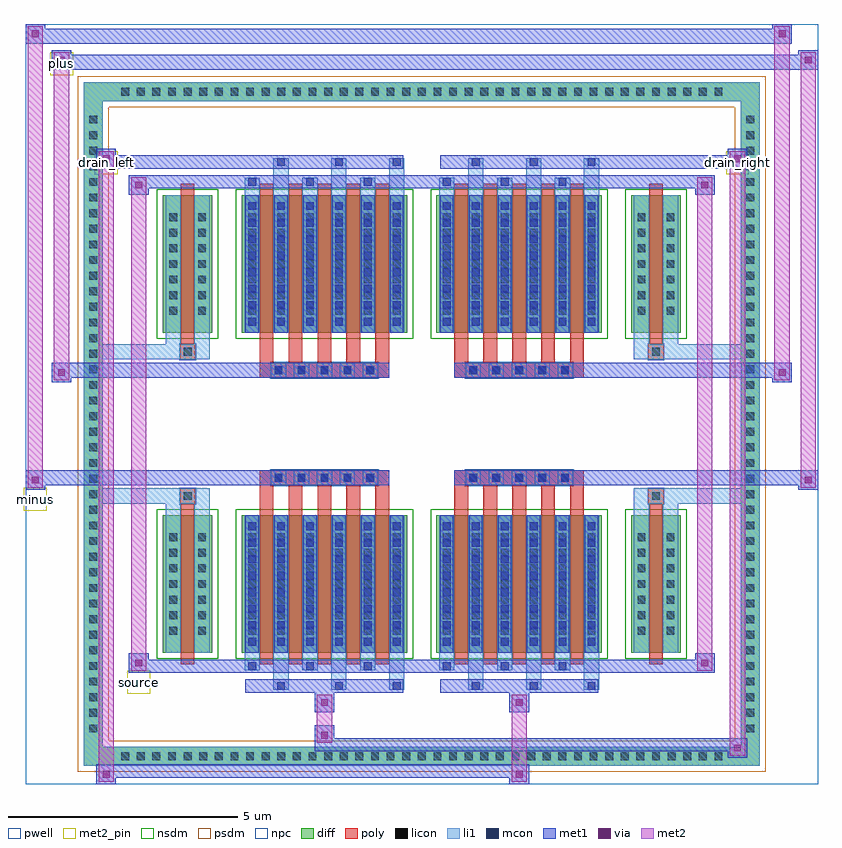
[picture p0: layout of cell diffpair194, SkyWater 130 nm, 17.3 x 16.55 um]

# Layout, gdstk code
import gdstk
lib = gdstk.Library(unit=1e-6, precision=5e-09)
def R(c, l, rs):  # rectangles x0, y0, x1, y1
    for r in rs: c.add(gdstk.rectangle(r[:2], r[2:], *l))
def A(c, l, x, y, w, h, nx, ny, dx, dy):  # array of equal rectangles
    R(c, l, [(x+i*dx, y+j*dy, x+i*dx+w, y+j*dy+h) for i in range(nx) for j in range(ny)])
def P(c, l, *ps):  # polygons
    for p in ps: c.add(gdstk.Polygon(p, *l))
pwell = (64, 44)
diff = (65, 20)
poly = (66, 20)
licon = (66, 44)
li1 = (67, 20)
mcon = (67, 44)
met1 = (68, 20)
via = (68, 44)
met2_pin = (69, 16)
met2 = (69, 20)
nsdm = (93, 44)
psdm = (94, 20)
npc = (95, 20)

diffpair194 = lib.new_cell('diffpair194')
R(diffpair194, pwell, [(-8.63,-7.84,8.63,8.71), (-5.95,-6.03,-0.01,-0.805), (0.01,-6.03,5.95,-0.805), (-5.95,0.805,-0.01,6.03), (0.01,0.805,5.95,6.03)])
A(diffpair194, diff, -6.665, -7.44, 0.41, 0.41, 39, 2, 0.34, 14.47)
A(diffpair194, diff, -7.36, -6.835, 0.41, 0.41, 1, 40, 0, 0.34)
A(diffpair194, diff, 6.95, -6.835, 0.41, 0.41, 1, 40, 0, 0.34)
R(diffpair194, diff, [(-6.665,-7.44,6.665,-7.03), (-7.36,-6.835,-6.95,6.835), (6.95,-6.835,7.36,6.835), (-5.64,-4.985,-4.56,-1.985), (-3.92,-4.985,-0.32,-1.985), (0.32,-4.985,3.92,-1.985), (4.56,-4.985,5.64,-1.985), (-5.64,1.985,-4.56,4.985), (-3.92,1.985,-0.32,4.985), (0.32,1.985,3.92,4.985), (4.56,1.985,5.64,4.985), (-6.665,7.03,6.665,7.44)])
P(diffpair194, diff, [(7.36,7.44),(-7.36,7.44),(-7.36,-7.03),(-6.95,-7.03),(-6.95,7.03),(6.95,7.03),(6.95,-7.03),(-6.95,-7.03),(-7.36,-7.03),(-7.36,-7.44),(7.36,-7.44)])
A(diffpair194, poly, -3.53, -5.235, 0.3, 3.5, 5, 2, 0.63, 6.97)
A(diffpair194, poly, 0.71, -5.235, 0.3, 3.5, 5, 2, 0.63, 6.97)
A(diffpair194, poly, -3.53, -1.735, 0.3, 0.4, 5, 2, 0.63, 3.07)
A(diffpair194, poly, 0.71, -1.735, 0.3, 0.4, 5, 2, 0.63, 3.07)
A(diffpair194, poly, -3.285, -1.335, 0.33, 0.33, 5, 2, 0.5, 2.34)
A(diffpair194, poly, 0.955, -1.335, 0.33, 0.33, 5, 2, 0.5, 2.34)
R(diffpair194, poly, [(-5.25,-5.235,-4.95,-1.735), (4.95,-5.235,5.25,-1.735), (-5.265,-1.735,-4.935,-1.405), (-5.265,-1.735,-4.935,-1.405), (4.935,-1.735,5.265,-1.405), (4.935,-1.735,5.265,-1.405), (-3.53,-1.335,-0.71,-1.005), (0.71,-1.335,3.53,-1.005), (-3.53,1.005,-0.71,1.335), (0.71,1.005,3.53,1.335), (-5.265,1.405,-4.935,1.735), (-5.265,1.405,-4.935,1.735), (4.935,1.405,5.265,1.735), (4.935,1.405,5.265,1.735), (-5.25,1.735,-4.95,5.235), (4.95,1.735,5.25,5.235)])
A(diffpair194, licon, -6.545, -7.32, 0.17, 0.17, 39, 2, 0.34, 14.47)
A(diffpair194, licon, -7.24, -6.715, 0.17, 0.17, 1, 40, 0, 0.34)
A(diffpair194, licon, 7.07, -6.715, 0.17, 0.17, 1, 40, 0, 0.34)
A(diffpair194, licon, -5.5, -4.59, 0.17, 0.17, 1, 7, 0, 0.34)
A(diffpair194, licon, -4.87, -4.59, 0.17, 0.17, 1, 7, 0, 0.34)
A(diffpair194, licon, -3.78, -4.59, 0.17, 0.17, 6, 7, 0.63, 0.34)
A(diffpair194, licon, 0.46, -4.59, 0.17, 0.17, 6, 7, 0.63, 0.34)
A(diffpair194, licon, 4.7, -4.59, 0.17, 0.17, 1, 7, 0, 0.34)
A(diffpair194, licon, 5.33, -4.59, 0.17, 0.17, 1, 7, 0, 0.34)
A(diffpair194, licon, -3.205, -1.255, 0.17, 0.17, 5, 2, 0.5, 2.34)
A(diffpair194, licon, 1.035, -1.255, 0.17, 0.17, 5, 2, 0.5, 2.34)
A(diffpair194, licon, -5.5, 2.38, 0.17, 0.17, 1, 7, 0, 0.34)
A(diffpair194, licon, -4.87, 2.38, 0.17, 0.17, 1, 7, 0, 0.34)
A(diffpair194, licon, -3.78, 2.38, 0.17, 0.17, 6, 7, 0.63, 0.34)
A(diffpair194, licon, 0.46, 2.38, 0.17, 0.17, 6, 7, 0.63, 0.34)
A(diffpair194, licon, 4.7, 2.38, 0.17, 0.17, 1, 7, 0, 0.34)
A(diffpair194, licon, 5.33, 2.38, 0.17, 0.17, 1, 7, 0, 0.34)
R(diffpair194, licon, [(-5.185,-1.655,-5.015,-1.485), (5.015,-1.655,5.185,-1.485), (-5.185,1.485,-5.015,1.655), (5.015,1.485,5.185,1.655)])
A(diffpair194, li1, -6.625, -7.4, 0.33, 0.33, 39, 2, 0.34, 14.47)
A(diffpair194, li1, -7.32, -6.795, 0.33, 0.33, 1, 40, 0, 0.34)
A(diffpair194, li1, 6.99, -6.795, 0.33, 0.33, 1, 40, 0, 0.34)
A(diffpair194, li1, -3.23, -5.79, 0.33, 0.805, 3, 2, 1.26, 10.775)
A(diffpair194, li1, -3.15, -5.79, 0.17, 0.17, 3, 2, 1.26, 11.41)
A(diffpair194, li1, 1.01, -5.79, 0.33, 0.805, 3, 2, 1.26, 10.775)
A(diffpair194, li1, 1.09, -5.79, 0.17, 0.17, 3, 2, 1.26, 11.41)
A(diffpair194, li1, -3.86, -5.36, 0.33, 0.375, 3, 2, 1.26, 10.345)
A(diffpair194, li1, -3.78, -5.36, 0.17, 0.17, 3, 2, 1.26, 10.55)
A(diffpair194, li1, 0.38, -5.36, 0.33, 0.375, 3, 2, 1.26, 10.345)
A(diffpair194, li1, 0.46, -5.36, 0.17, 0.17, 3, 2, 1.26, 10.55)
A(diffpair194, li1, -3.86, -4.985, 0.33, 3, 6, 2, 0.63, 6.97)
A(diffpair194, li1, 0.38, -4.985, 0.33, 3, 6, 2, 0.63, 6.97)
A(diffpair194, li1, -3.78, -4.83, 0.17, 0.17, 6, 8, 0.63, 0.36)
A(diffpair194, li1, -3.78, -4.83, 0.17, 2.69, 6, 2, 0.63, 6.97)
A(diffpair194, li1, 0.46, -4.83, 0.17, 0.17, 6, 8, 0.63, 0.36)
A(diffpair194, li1, 0.46, -4.83, 0.17, 2.69, 6, 2, 0.63, 6.97)
A(diffpair194, li1, -5.58, -4.67, 0.33, 0.33, 1, 7, 0, 0.34)
A(diffpair194, li1, -4.95, -4.67, 0.33, 0.33, 1, 7, 0, 0.34)
A(diffpair194, li1, -3.86, -4.67, 0.33, 0.33, 6, 7, 0.63, 0.34)
A(diffpair194, li1, 0.38, -4.67, 0.33, 0.33, 6, 7, 0.63, 0.34)
A(diffpair194, li1, 4.62, -4.67, 0.33, 0.33, 1, 7, 0, 0.34)
A(diffpair194, li1, 5.25, -4.67, 0.33, 0.33, 1, 7, 0, 0.34)
A(diffpair194, li1, -3.285, -1.335, 0.33, 0.33, 5, 2, 0.5, 2.34)
A(diffpair194, li1, 0.955, -1.335, 0.33, 0.33, 5, 2, 0.5, 2.34)
A(diffpair194, li1, -3.78, 2.14, 0.17, 0.17, 6, 8, 0.63, 0.36)
A(diffpair194, li1, 0.46, 2.14, 0.17, 0.17, 6, 8, 0.63, 0.36)
A(diffpair194, li1, -5.58, 2.3, 0.33, 0.33, 1, 7, 0, 0.34)
A(diffpair194, li1, -4.95, 2.3, 0.33, 0.33, 1, 7, 0, 0.34)
A(diffpair194, li1, -3.86, 2.3, 0.33, 0.33, 6, 7, 0.63, 0.34)
A(diffpair194, li1, 0.38, 2.3, 0.33, 0.33, 6, 7, 0.63, 0.34)
A(diffpair194, li1, 4.62, 2.3, 0.33, 0.33, 1, 7, 0, 0.34)
A(diffpair194, li1, 5.25, 2.3, 0.33, 0.33, 1, 7, 0, 0.34)
R(diffpair194, li1, [(-7.36,-7.44,-6.95,-7.03), (-7.36,-7.44,-6.95,-7.03), (-6.95,-7.44,6.95,-7.03), (6.95,-7.44,7.36,-7.03), (6.95,-7.44,7.36,-7.03), (-7.36,-7.03,-6.95,7.03), (6.95,-7.03,7.36,7.03), (-5.58,-4.985,-5.25,-1.985), (-4.95,-4.985,-4.62,-1.985), (4.62,-4.985,4.95,-1.985), (5.25,-4.985,5.58,-1.985), (-5.58,-1.985,-5.25,-1.405), (-4.95,-1.985,-4.62,-1.405), (4.62,-1.985,4.95,-1.405), (5.25,-1.985,5.58,-1.405), (-7.36,-1.735,-5.265,-1.405), (-5.58,-1.735,-5.265,-1.405), (-5.265,-1.735,-4.935,-1.405), (-4.935,-1.735,-4.62,-1.405), (4.62,-1.735,4.935,-1.405), (4.935,-1.735,5.265,-1.405), (4.935,-1.735,7.36,-1.405), (5.265,-1.735,5.58,-1.405), (-7.36,1.405,-5.265,1.735), (-5.58,1.405,-5.265,1.735), (-5.58,1.405,-5.25,1.985), (-5.265,1.405,-4.935,1.735), (-4.95,1.405,-4.62,1.985), (-4.935,1.405,-4.62,1.735), (4.62,1.405,4.935,1.735), (4.62,1.405,4.95,1.985), (4.935,1.405,5.265,1.735), (4.935,1.405,7.36,1.735), (5.25,1.405,5.58,1.985), (5.265,1.405,5.58,1.735), (-5.58,1.985,-5.25,4.985), (-4.95,1.985,-4.62,4.985), (4.62,1.985,4.95,4.985), (5.25,1.985,5.58,4.985), (-7.36,7.03,-6.95,7.44), (-7.36,7.03,-6.95,7.44), (-6.95,7.03,6.95,7.44), (6.95,7.03,7.36,7.44), (6.95,7.03,7.36,7.44)])
A(diffpair194, mcon, -3.15, -5.79, 0.17, 0.17, 3, 2, 1.26, 11.41)
A(diffpair194, mcon, 1.09, -5.79, 0.17, 0.17, 3, 2, 1.26, 11.41)
A(diffpair194, mcon, -3.78, -5.36, 0.17, 0.17, 3, 2, 1.26, 10.55)
A(diffpair194, mcon, 0.46, -5.36, 0.17, 0.17, 3, 2, 1.26, 10.55)
A(diffpair194, mcon, -3.78, -4.83, 0.17, 0.17, 6, 8, 0.63, 0.36)
A(diffpair194, mcon, 0.46, -4.83, 0.17, 0.17, 6, 8, 0.63, 0.36)
A(diffpair194, mcon, -3.205, -1.255, 0.17, 0.17, 5, 2, 0.5, 2.34)
A(diffpair194, mcon, 1.035, -1.255, 0.17, 0.17, 5, 2, 0.5, 2.34)
A(diffpair194, mcon, -3.78, 2.14, 0.17, 0.17, 6, 8, 0.63, 0.36)
A(diffpair194, mcon, 0.46, 2.14, 0.17, 0.17, 6, 8, 0.63, 0.36)
A(diffpair194, met1, -3.21, -5.85, 0.29, 0.29, 3, 2, 1.26, 11.41)
A(diffpair194, met1, 1.03, -5.85, 0.29, 0.29, 3, 2, 1.26, 11.41)
A(diffpair194, met1, -3.84, -5.42, 0.29, 0.29, 3, 2, 1.26, 10.55)
A(diffpair194, met1, 0.4, -5.42, 0.29, 0.29, 3, 2, 1.26, 10.55)
A(diffpair194, met1, -3.84, -4.985, 0.29, 3, 6, 2, 0.63, 6.97)
A(diffpair194, met1, 0.4, -4.985, 0.29, 3, 6, 2, 0.63, 6.97)
A(diffpair194, met1, -3.84, -4.89, 0.29, 0.29, 6, 8, 0.63, 0.36)
A(diffpair194, met1, 0.4, -4.89, 0.29, 0.29, 6, 8, 0.63, 0.36)
A(diffpair194, met1, -3.265, -1.315, 0.29, 0.29, 5, 2, 0.5, 2.34)
A(diffpair194, met1, 0.975, -1.315, 0.29, 0.29, 5, 2, 0.5, 2.34)
A(diffpair194, met1, -3.84, 2.08, 0.29, 0.29, 6, 8, 0.63, 0.36)
A(diffpair194, met1, 0.4, 2.08, 0.29, 0.29, 6, 8, 0.63, 0.36)
R(diffpair194, met1, [(-7.09,-7.84,-6.66,-7.41), (1.905,-7.84,2.335,-7.41), (-7.09,-7.7,2.335,-7.41), (6.66,-7.27,7.09,-6.84), (-2.335,-7.13,7.09,-6.84), (-2.335,-6.99,-1.905,-6.56), (-2.335,-6.28,-1.905,-5.85), (1.905,-6.28,2.335,-5.85), (-3.84,-5.85,-0.4,-5.56), (0.4,-5.85,3.84,-5.56), (-6.38,-5.42,-5.95,-4.99), (-6.38,-5.42,-3.84,-5.13), (-3.84,-5.42,-0.4,-5.13), (-0.4,-5.42,0.4,-5.13), (0.4,-5.42,3.84,-5.13), (3.84,-5.42,6.38,-5.13), (5.95,-5.42,6.38,-4.99), (-8.63,-1.435,-8.2,-1.005), (8.2,-1.435,8.63,-1.005), (-8.63,-1.335,-0.71,-1.005), (-3.53,-1.335,-0.71,-1.005), (0.71,-1.335,3.53,-1.005), (0.71,-1.335,8.63,-1.005), (-8.06,0.905,-7.63,1.335), (7.63,0.905,8.06,1.335), (-8.06,1.005,-3.53,1.335), (-3.53,1.005,-0.71,1.335), (0.71,1.005,3.53,1.335), (3.53,1.005,8.06,1.335), (-6.38,4.99,-5.95,5.42), (5.95,4.99,6.38,5.42), (-6.38,5.13,-3.84,5.42), (-3.84,5.13,-0.4,5.42), (-0.4,5.13,0.4,5.42), (0.4,5.13,3.84,5.42), (3.84,5.13,6.38,5.42), (-7.09,5.56,-6.66,5.99), (-7.09,5.56,-3.84,5.85), (-3.84,5.56,-0.4,5.85), (0.4,5.56,3.84,5.85), (3.84,5.56,7.09,5.85), (6.66,5.56,7.09,5.99), (-8.06,7.71,-7.63,8.14), (-8.06,7.71,-5.95,8.04), (-5.95,7.71,5.95,8.04), (5.95,7.71,8.63,8.04), (8.2,7.71,8.63,8.14), (-8.63,8.28,-8.2,8.71), (-8.63,8.28,-5.95,8.61), (-5.95,8.28,5.95,8.61), (5.95,8.28,8.06,8.61), (7.63,8.28,8.06,8.71)])
R(diffpair194, via, [(-6.95,-7.7,-6.8,-7.55), (2.045,-7.7,2.195,-7.55), (6.8,-7.13,6.95,-6.98), (-2.195,-6.85,-2.045,-6.7), (-2.195,-6.14,-2.045,-5.99), (2.045,-6.14,2.195,-5.99), (-6.24,-5.28,-6.09,-5.13), (6.09,-5.28,6.24,-5.13), (-8.49,-1.295,-8.34,-1.145), (8.34,-1.295,8.49,-1.145), (-7.92,1.045,-7.77,1.195), (7.77,1.045,7.92,1.195), (-6.24,5.13,-6.09,5.28), (6.09,5.13,6.24,5.28), (-6.95,5.7,-6.8,5.85), (6.8,5.7,6.95,5.85), (-7.92,7.85,-7.77,8), (8.34,7.85,8.49,8), (-8.49,8.42,-8.34,8.57), (7.77,8.42,7.92,8.57)])
R(diffpair194, met2_pin, [(-6.415,-5.87,-5.915,-5.37), (-8.665,-1.885,-8.165,-1.385), (-7.125,5.44,-6.625,5.94), (6.625,5.44,7.125,5.94), (-8.095,7.59,-7.595,8.09)])
R(diffpair194, met2, [(-7.04,-7.79,-6.71,-7.46), (-7.04,-7.79,-6.71,5.94), (1.955,-7.79,2.285,-7.46), (1.955,-7.46,2.285,-6.23), (6.71,-7.22,7.04,-6.89), (6.71,-7.22,7.04,5.94), (-2.285,-6.94,-1.955,-6.61), (-2.285,-6.61,-1.955,-6.23), (-2.285,-6.23,-1.955,-5.9), (1.955,-6.23,2.285,-5.9), (-6.33,-5.37,-6,-5.04), (-6.33,-5.37,-6,5.37), (6,-5.37,6.33,-5.04), (6,-5.37,6.33,5.37), (-8.58,-1.385,-8.25,-1.055), (-8.58,-1.385,-8.25,8.66), (8.25,-1.385,8.58,-1.055), (8.25,-1.385,8.58,8.09), (-8.01,0.955,-7.68,1.285), (-8.01,0.955,-7.68,8.09), (7.68,0.955,8.01,1.285), (7.68,0.955,8.01,8.66), (-6.33,5.04,-6,5.37), (6,5.04,6.33,5.37), (-7.04,5.61,-6.71,5.94), (6.71,5.61,7.04,5.94), (-8.01,7.76,-7.68,8.09), (8.25,7.76,8.58,8.09), (-8.58,8.33,-8.25,8.66), (7.68,8.33,8.01,8.66)])
P(diffpair194, met2, [(8.58,-1.385),(8.58,-1.385),(8.58,-1.055),(8.58,-1.055)],
  [(8.58,7.76),(8.58,7.76),(8.58,8.09),(8.58,8.09)],
  [(-8.25,-1.385),(-8.25,-1.385),(-8.25,-1.055),(-8.25,-1.055)],
  [(-8.25,8.33),(-8.25,8.33),(-8.25,8.66),(-8.25,8.66)],
  [(8.01,0.955),(8.01,0.955),(8.01,1.285),(8.01,1.285)],
  [(8.01,8.33),(8.01,8.33),(8.01,8.66),(8.01,8.66)],
  [(-7.68,0.955),(-7.68,0.955),(-7.68,1.285),(-7.68,1.285)],
  [(-7.68,7.76),(-7.68,7.76),(-7.68,8.09),(-7.68,8.09)],
  [(-6.71,-7.79),(-6.71,-7.79),(-6.71,-7.46),(-6.71,-7.46)],
  [(-6.71,5.61),(-6.71,5.61),(-6.71,5.94),(-6.71,5.94)],
  [(7.04,-7.22),(7.04,-7.22),(7.04,-6.89),(7.04,-6.89)],
  [(7.04,5.61),(7.04,5.61),(7.04,5.94),(7.04,5.94)],
  [(-6,-5.37),(-6,-5.37),(-6,-5.04),(-6,-5.04)],
  [(-6,5.04),(-6,5.04),(-6,5.37),(-6,5.37)],
  [(6.33,-5.37),(6.33,-5.37),(6.33,-5.04),(6.33,-5.04)],
  [(6.33,5.04),(6.33,5.04),(6.33,5.37),(6.33,5.37)])
R(diffpair194, nsdm, [(-5.77,-5.115,-4.43,-1.855), (-4.05,-5.115,-0.19,-1.855), (0.19,-5.115,4.05,-1.855), (4.43,-5.115,5.77,-1.855), (-5.77,1.855,-4.43,5.115), (-4.05,1.855,-0.19,5.115), (0.19,1.855,4.05,5.115), (4.43,1.855,5.77,5.115)])
P(diffpair194, psdm, [(7.49,7.57),(-7.49,7.57),(-7.49,-6.9),(-6.82,-6.9),(-6.82,6.9),(6.82,6.9),(6.82,-6.9),(-6.82,-6.9),(-7.49,-6.9),(-7.49,-7.57),(7.49,-7.57)])
A(diffpair194, npc, -3.305, -1.355, 0.37, 0.37, 5, 2, 0.5, 2.34)
A(diffpair194, npc, 0.935, -1.355, 0.37, 0.37, 5, 2, 0.5, 2.34)
R(diffpair194, npc, [(-5.285,-1.755,-4.915,-1.385), (4.915,-1.755,5.285,-1.385), (-3.305,-1.355,-2.435,-0.985), (-3.305,-1.355,-2.435,-0.985), (-2.805,-1.355,-1.935,-0.985), (-2.805,-1.355,-1.935,-0.985), (-2.305,-1.355,-1.435,-0.985), (-2.305,-1.355,-1.435,-0.985), (-1.805,-1.355,-0.935,-0.985), (-1.805,-1.355,-0.935,-0.985), (0.935,-1.355,1.805,-0.985), (0.935,-1.355,1.805,-0.985), (1.435,-1.355,2.305,-0.985), (1.435,-1.355,2.305,-0.985), (1.935,-1.355,2.805,-0.985), (1.935,-1.355,2.805,-0.985), (2.435,-1.355,3.305,-0.985), (2.435,-1.355,3.305,-0.985), (-3.305,0.985,-2.435,1.355), (-3.305,0.985,-2.435,1.355), (-2.805,0.985,-1.935,1.355), (-2.805,0.985,-1.935,1.355), (-2.305,0.985,-1.435,1.355), (-2.305,0.985,-1.435,1.355), (-1.805,0.985,-0.935,1.355), (-1.805,0.985,-0.935,1.355), (0.935,0.985,1.805,1.355), (0.935,0.985,1.805,1.355), (1.435,0.985,2.305,1.355), (1.435,0.985,2.305,1.355), (1.935,0.985,2.805,1.355), (1.935,0.985,2.805,1.355), (2.435,0.985,3.305,1.355), (2.435,0.985,3.305,1.355), (-5.285,1.385,-4.915,1.755), (4.915,1.385,5.285,1.755)])
diffpair194.add(gdstk.Label('minus', (-8.415,-1.635), layer=69, texttype=5))
diffpair194.add(gdstk.Label('drain_right', (6.875,5.69), layer=69, texttype=5))
diffpair194.add(gdstk.Label('drain_left', (-6.875,5.69), layer=69, texttype=5))
diffpair194.add(gdstk.Label('source', (-6.165,-5.62), layer=69, texttype=5))
diffpair194.add(gdstk.Label('plus', (-7.845,7.84), layer=69, texttype=5))

lib.write_gds('diffpair194.gds')
